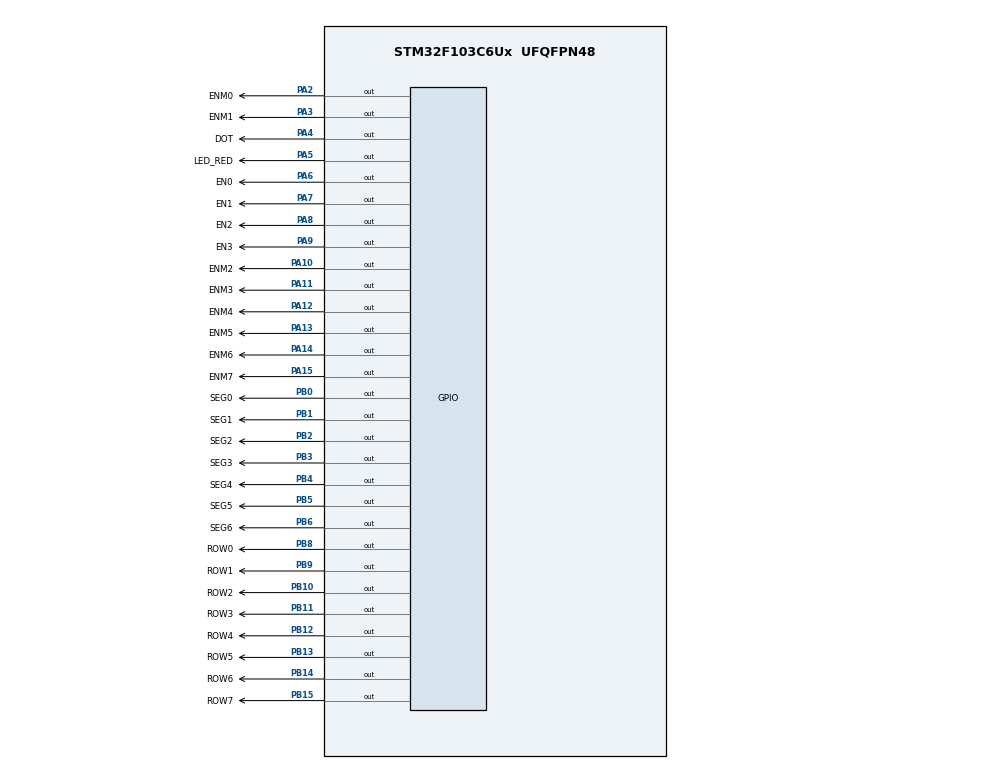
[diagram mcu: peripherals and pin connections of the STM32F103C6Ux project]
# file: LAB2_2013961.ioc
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Mcu.Family=STM32F1
Mcu.Name=STM32F103C6Ux
Mcu.Package=UFQFPN48
NVIC.PriorityGroup=NVIC_PRIORITYGROUP_4
NVIC.TIM2_IRQn=true\:0\:0\:false\:false\:true\:true\:true
PA10.GPIO_Label=ENM2
PA10.Signal=GPIO_Output
PA11.GPIO_Label=ENM3
PA11.Signal=GPIO_Output
PA12.GPIO_Label=ENM4
PA12.Signal=GPIO_Output
PA13.GPIO_Label=ENM5
PA13.Signal=GPIO_Output
PA14.GPIO_Label=ENM6
PA14.Signal=GPIO_Output
PA15.GPIO_Label=ENM7
PA15.Signal=GPIO_Output
PA2.GPIO_Label=ENM0
PA2.Signal=GPIO_Output
PA3.GPIO_Label=ENM1
PA3.Signal=GPIO_Output
PA4.GPIO_Label=DOT
PA4.Signal=GPIO_Output
PA5.GPIO_Label=LED_RED
PA5.Signal=GPIO_Output
PA6.GPIO_Label=EN0
PA6.Signal=GPIO_Output
PA7.GPIO_Label=EN1
PA7.Signal=GPIO_Output
PA8.GPIO_Label=EN2
PA8.Signal=GPIO_Output
PA9.GPIO_Label=EN3
PA9.Signal=GPIO_Output
PB0.GPIO_Label=SEG0
PB0.Signal=GPIO_Output
PB1.GPIO_Label=SEG1
PB1.Signal=GPIO_Output
PB10.GPIO_Label=ROW2
PB10.Signal=GPIO_Output
PB11.GPIO_Label=ROW3
PB11.Signal=GPIO_Output
PB12.GPIO_Label=ROW4
PB12.Signal=GPIO_Output
PB13.GPIO_Label=ROW5
PB13.Signal=GPIO_Output
PB14.GPIO_Label=ROW6
PB14.Signal=GPIO_Output
PB15.GPIO_Label=ROW7
PB15.Signal=GPIO_Output
PB2.GPIO_Label=SEG2
PB2.Signal=GPIO_Output
PB3.GPIO_Label=SEG3
PB3.Signal=GPIO_Output
PB4.GPIO_Label=SEG4
PB4.Signal=GPIO_Output
PB5.GPIO_Label=SEG5
PB5.Signal=GPIO_Output
PB6.GPIO_Label=SEG6
PB6.Signal=GPIO_Output
PB8.GPIO_Label=ROW0
PB8.Signal=GPIO_Output
PB9.GPIO_Label=ROW1
PB9.Signal=GPIO_Output
ProjectManager.HeapSize=0x200
ProjectManager.StackSize=0x400
ProjectManager.TargetToolchain=STM32CubeIDE
RCC.APB1Freq_Value=8000000
RCC.APB2Freq_Value=8000000
TIM2.Period=9
TIM2.Prescaler=7999
VP_SYS_VS_ND.Mode=No_Debug
VP_TIM2_VS_ClockSourceINT.Mode=Internal
board=custom

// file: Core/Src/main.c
/* USER CODE BEGIN Header */
/**
  ******************************************************************************
  * @file           : main.c
  * @brief          : Main program body
  ******************************************************************************
  * @attention
  *
  * <h2><center>&copy; Copyright (c) 2022 STMicroelectronics.
  * All rights reserved.</center></h2>
  *
  * This software component is licensed by ST under BSD 3-Clause license,
  * the "License"; You may not use this file except in compliance with the
  * License. You may obtain a copy of the License at:
  *                        opensource.org/licenses/BSD-3-Clause
  *
  ******************************************************************************
  */
/* USER CODE END Header */
#include "main.h"

/* USER CODE BEGIN Includes */
#include "software_timer.h"
/* USER CODE END Includes */

TIM_HandleTypeDef htim2;

void SystemClock_Config(void);
static void MX_GPIO_Init(void);
static void MX_TIM2_Init(void);

/* USER CODE BEGIN 0 */

int TIMER_CYCLE =10;
void display7SEG(int num);

const int MAX_LED = 4;
int index_led = 0;
int led_buffer [4] = {0, 0, 0, 0};
void update7SEG ( int index );
void updateClockBuffer(int hour, int minute);

const int MAX_LED_MATRIX = 8;
int index_led_matrix = 0;
uint8_t matrix_buffer [8] = {0xFF,0xC0,0x80,0x33,0x33,0x80,0xC0,0xFF};
void updateLEDMatrix (int index );
void updateRow(uint8_t buffer);
void updateCol(int index );
void shift_left_buffer();
/* USER CODE END 0 */

int main(void)
{

  /* MCU Configuration--------------------------------------------------------*/

  /* Reset of all peripherals, Initializes the Flash interface and the Systick. */
  HAL_Init();

  /* Configure the system clock */
  SystemClock_Config();

  /* Initialize all configured peripherals */
  MX_GPIO_Init();
  MX_TIM2_Init();
  /* USER CODE BEGIN 2 */
	 HAL_TIM_Base_Start_IT (& htim2 );
  /* USER CODE END 2 */

  /* Infinite loop */
  /* USER CODE BEGIN WHILE */

//thoi gian hien thị cua 1 den led 7 doan
int switching_time = 100;
setTimer_led_7_seg(switching_time);
//thoi gian sang cua 2 den led
int time_blinking_2_led_red = 1000;
setTimer_2_LED_RED(time_blinking_2_led_red);

// thoi gian khoi tao gio : phut : giay cua he thong
int hour = 7, minute = 30, second = 1;
setTimer_clock(1000);

//set timer cua matrix led
int time_switch_colum = 100;
setTimer_matrix_led(100);

//set timer cua bo dich buffer cua matri lex
int time_animation = 2000;
setTimer_shift_left_buffer(2000);
  while (1)
  {
  //hien thuc 2 LED do nhap nhay moi 1 giay
	  if(timer_2_LED_RED_flag == 1){
		  setTimer_2_LED_RED(time_blinking_2_led_red);
		  HAL_GPIO_TogglePin(DOT_GPIO_Port, DOT_Pin);
	  }

	  //hien thuc 4 led7 doan lan luot sang
	  if(timer_led_7_seg_flag == 1){
		  setTimer_led_7_seg(switching_time);
			if(index_led >= MAX_LED) index_led = 0;
				update7SEG(index_led++);
	  }

	  if(timer_clock_flag == 1){
		  setTimer_clock(1000);
		  second ++;
		  if ( second >= 60) {
			  second = 0;
			  minute ++;
		  }
		  if( minute >= 60) {
			  minute = 0;
			  hour ++;
		  }
		  if( hour >=24){
			  hour = 0;
		  }
		  updateClockBuffer (hour, minute);

	  }

	  if(timer_matrix_led_flag == 1){
		  setTimer_matrix_led(time_switch_colum);
		  if(index_led_matrix >= 8) index_led_matrix = 0;
		  updateLEDMatrix(index_led_matrix++);

	  }

	  if(timer_shift_left_buffer_flag ==1){
		  setTimer_shift_left_buffer(time_animation);
		  shift_left_buffer();

	  }
    /* USER CODE END WHILE */

  }
}

void SystemClock_Config(void)
{
  RCC_OscInitTypeDef RCC_OscInitStruct = {0};
  RCC_ClkInitTypeDef RCC_ClkInitStruct = {0};

  /** Initializes the RCC Oscillators according to the specified parameters
  * in the RCC_OscInitTypeDef structure.
  */
  RCC_OscInitStruct.OscillatorType = RCC_OSCILLATORTYPE_HSI;
  RCC_OscInitStruct.HSIState = RCC_HSI_ON;
  RCC_OscInitStruct.HSICalibrationValue = RCC_HSICALIBRATION_DEFAULT;
  RCC_OscInitStruct.PLL.PLLState = RCC_PLL_NONE;
  if (HAL_RCC_OscConfig(&RCC_OscInitStruct) != HAL_OK)
  {
    Error_Handler();
  }
  /** Initializes the CPU, AHB and APB buses clocks
  */
  RCC_ClkInitStruct.ClockType = RCC_CLOCKTYPE_HCLK|RCC_CLOCKTYPE_SYSCLK
                              |RCC_CLOCKTYPE_PCLK1|RCC_CLOCKTYPE_PCLK2;
  RCC_ClkInitStruct.SYSCLKSource = RCC_SYSCLKSOURCE_HSI;
  RCC_ClkInitStruct.AHBCLKDivider = RCC_SYSCLK_DIV1;
  RCC_ClkInitStruct.APB1CLKDivider = RCC_HCLK_DIV1;
  RCC_ClkInitStruct.APB2CLKDivider = RCC_HCLK_DIV1;

  if (HAL_RCC_ClockConfig(&RCC_ClkInitStruct, FLASH_LATENCY_0) != HAL_OK)
  {
    Error_Handler();
  }
}

static void MX_TIM2_Init(void)
{

  TIM_ClockConfigTypeDef sClockSourceConfig = {0};
  TIM_MasterConfigTypeDef sMasterConfig = {0};

  htim2.Instance = TIM2;
  htim2.Init.Prescaler = 7999;
  htim2.Init.CounterMode = TIM_COUNTERMODE_UP;
  htim2.Init.Period = 9;
  htim2.Init.ClockDivision = TIM_CLOCKDIVISION_DIV1;
  htim2.Init.AutoReloadPreload = TIM_AUTORELOAD_PRELOAD_DISABLE;
  if (HAL_TIM_Base_Init(&htim2) != HAL_OK)
  {
    Error_Handler();
  }
  sClockSourceConfig.ClockSource = TIM_CLOCKSOURCE_INTERNAL;
  if (HAL_TIM_ConfigClockSource(&htim2, &sClockSourceConfig) != HAL_OK)
  {
    Error_Handler();
  }
  sMasterConfig.MasterOutputTrigger = TIM_TRGO_RESET;
  sMasterConfig.MasterSlaveMode = TIM_MASTERSLAVEMODE_DISABLE;
  if (HAL_TIMEx_MasterConfigSynchronization(&htim2, &sMasterConfig) != HAL_OK)
  {
    Error_Handler();
  }

}

static void MX_GPIO_Init(void)
{
  GPIO_InitTypeDef GPIO_InitStruct = {0};

  /* GPIO Ports Clock Enable */
  __HAL_RCC_GPIOA_CLK_ENABLE();
  __HAL_RCC_GPIOB_CLK_ENABLE();

  /*Configure GPIO pin Output Level */
  HAL_GPIO_WritePin(GPIOA, ENM0_Pin|ENM1_Pin|DOT_Pin|LED_RED_Pin
                          |EN0_Pin|EN1_Pin|EN2_Pin|EN3_Pin
                          |ENM2_Pin|ENM3_Pin|ENM4_Pin|ENM5_Pin
                          |ENM6_Pin|ENM7_Pin, GPIO_PIN_RESET);

  /*Configure GPIO pin Output Level */
  HAL_GPIO_WritePin(GPIOB, SEG0_Pin|SEG1_Pin|SEG2_Pin|ROW2_Pin
                          |ROW3_Pin|ROW4_Pin|ROW5_Pin|ROW6_Pin
                          |ROW7_Pin|SEG3_Pin|SEG4_Pin|SEG5_Pin
                          |SEG6_Pin|ROW0_Pin|ROW1_Pin, GPIO_PIN_RESET);

  /*Configure GPIO pins : ENM0_Pin ENM1_Pin DOT_Pin LED_RED_Pin
                           EN0_Pin EN1_Pin EN2_Pin EN3_Pin
                           ENM2_Pin ENM3_Pin ENM4_Pin ENM5_Pin
                           ENM6_Pin ENM7_Pin */
  GPIO_InitStruct.Pin = ENM0_Pin|ENM1_Pin|DOT_Pin|LED_RED_Pin
                          |EN0_Pin|EN1_Pin|EN2_Pin|EN3_Pin
                          |ENM2_Pin|ENM3_Pin|ENM4_Pin|ENM5_Pin
                          |ENM6_Pin|ENM7_Pin;
  GPIO_InitStruct.Mode = GPIO_MODE_OUTPUT_PP;
  GPIO_InitStruct.Pull = GPIO_NOPULL;
  GPIO_InitStruct.Speed = GPIO_SPEED_FREQ_LOW;
  HAL_GPIO_Init(GPIOA, &GPIO_InitStruct);

  /*Configure GPIO pins : SEG0_Pin SEG1_Pin SEG2_Pin ROW2_Pin
                           ROW3_Pin ROW4_Pin ROW5_Pin ROW6_Pin
                           ROW7_Pin SEG3_Pin SEG4_Pin SEG5_Pin
                           SEG6_Pin ROW0_Pin ROW1_Pin */
  GPIO_InitStruct.Pin = SEG0_Pin|SEG1_Pin|SEG2_Pin|ROW2_Pin
                          |ROW3_Pin|ROW4_Pin|ROW5_Pin|ROW6_Pin
                          |ROW7_Pin|SEG3_Pin|SEG4_Pin|SEG5_Pin
                          |SEG6_Pin|ROW0_Pin|ROW1_Pin;
  GPIO_InitStruct.Mode = GPIO_MODE_OUTPUT_PP;
  GPIO_InitStruct.Pull = GPIO_NOPULL;
  GPIO_InitStruct.Speed = GPIO_SPEED_FREQ_LOW;
  HAL_GPIO_Init(GPIOB, &GPIO_InitStruct);

}

/* USER CODE BEGIN 4 */
void display7SEG(int num){
  	switch(num){
  	case 0:
  		HAL_GPIO_WritePin(SEG0_GPIO_Port,SEG0_Pin, GPIO_PIN_RESET);
  		HAL_GPIO_WritePin(SEG1_GPIO_Port,SEG1_Pin, GPIO_PIN_RESET);
  		HAL_GPIO_WritePin(SEG2_GPIO_Port,SEG2_Pin, GPIO_PIN_RESET);
  		HAL_GPIO_WritePin(SEG3_GPIO_Port,SEG3_Pin, GPIO_PIN_RESET);
  		HAL_GPIO_WritePin(SEG4_GPIO_Port,SEG4_Pin, GPIO_PIN_RESET);
  		HAL_GPIO_WritePin(SEG5_GPIO_Port,SEG5_Pin, GPIO_PIN_RESET);
  		HAL_GPIO_WritePin(SEG6_GPIO_Port,SEG6_Pin, GPIO_PIN_SET);
  		break;
  	case 1:
  		HAL_GPIO_WritePin(SEG0_GPIO_Port,SEG0_Pin, GPIO_PIN_SET);
  		HAL_GPIO_WritePin(SEG1_GPIO_Port,SEG1_Pin, GPIO_PIN_RESET);
  		HAL_GPIO_WritePin(SEG2_GPIO_Port,SEG2_Pin, GPIO_PIN_RESET);
  		HAL_GPIO_WritePin(SEG3_GPIO_Port,SEG3_Pin, GPIO_PIN_SET);
  		HAL_GPIO_WritePin(SEG4_GPIO_Port,SEG4_Pin, GPIO_PIN_SET);
  		HAL_GPIO_WritePin(SEG5_GPIO_Port,SEG5_Pin, GPIO_PIN_SET);
  		HAL_GPIO_WritePin(SEG6_GPIO_Port,SEG6_Pin, GPIO_PIN_SET);
  		break;
  	case 2:
  		HAL_GPIO_WritePin(SEG0_GPIO_Port,SEG0_Pin, GPIO_PIN_RESET);
  		HAL_GPIO_WritePin(SEG1_GPIO_Port,SEG1_Pin, GPIO_PIN_RESET);
  		HAL_GPIO_WritePin(SEG2_GPIO_Port,SEG2_Pin, GPIO_PIN_SET);
  		HAL_GPIO_WritePin(SEG3_GPIO_Port,SEG3_Pin, GPIO_PIN_RESET);
  		HAL_GPIO_WritePin(SEG4_GPIO_Port,SEG4_Pin, GPIO_PIN_RESET);
  		HAL_GPIO_WritePin(SEG5_GPIO_Port,SEG5_Pin, GPIO_PIN_SET);
  		HAL_GPIO_WritePin(SEG6_GPIO_Port,SEG6_Pin, GPIO_PIN_RESET);
  		break;
  	case 3:
  		HAL_GPIO_WritePin(SEG0_GPIO_Port,SEG0_Pin, GPIO_PIN_RESET);
  		HAL_GPIO_WritePin(SEG1_GPIO_Port,SEG1_Pin, GPIO_PIN_RESET);
  		HAL_GPIO_WritePin(SEG2_GPIO_Port,SEG2_Pin, GPIO_PIN_RESET);
  		HAL_GPIO_WritePin(SEG3_GPIO_Port,SEG3_Pin, GPIO_PIN_RESET);
  		HAL_GPIO_WritePin(SEG4_GPIO_Port,SEG4_Pin, GPIO_PIN_SET);
  		HAL_GPIO_WritePin(SEG5_GPIO_Port,SEG5_Pin, GPIO_PIN_SET);
  		HAL_GPIO_WritePin(SEG6_GPIO_Port,SEG6_Pin, GPIO_PIN_RESET);
  		break;
  	case 4:
  		HAL_GPIO_WritePin(SEG0_GPIO_Port,SEG0_Pin, GPIO_PIN_SET);
  		HAL_GPIO_WritePin(SEG1_GPIO_Port,SEG1_Pin, GPIO_PIN_RESET);
  		HAL_GPIO_WritePin(SEG2_GPIO_Port,SEG2_Pin, GPIO_PIN_RESET);
  		HAL_GPIO_WritePin(SEG3_GPIO_Port,SEG3_Pin, GPIO_PIN_SET);
  		HAL_GPIO_WritePin(SEG4_GPIO_Port,SEG4_Pin, GPIO_PIN_SET);
  		HAL_GPIO_WritePin(SEG5_GPIO_Port,SEG5_Pin, GPIO_PIN_RESET);
  		HAL_GPIO_WritePin(SEG6_GPIO_Port,SEG6_Pin, GPIO_PIN_RESET);
  		break;
  	case 5:
  		HAL_GPIO_WritePin(SEG0_GPIO_Port,SEG0_Pin, GPIO_PIN_RESET);
  		HAL_GPIO_WritePin(SEG1_GPIO_Port,SEG1_Pin, GPIO_PIN_SET);
  		HAL_GPIO_WritePin(SEG2_GPIO_Port,SEG2_Pin, GPIO_PIN_RESET);
  		HAL_GPIO_WritePin(SEG3_GPIO_Port,SEG3_Pin, GPIO_PIN_RESET);
  		HAL_GPIO_WritePin(SEG4_GPIO_Port,SEG4_Pin, GPIO_PIN_SET);
  		HAL_GPIO_WritePin(SEG5_GPIO_Port,SEG5_Pin, GPIO_PIN_RESET);
  		HAL_GPIO_WritePin(SEG6_GPIO_Port,SEG6_Pin, GPIO_PIN_RESET);
  		break;
  	case 6:
  		HAL_GPIO_WritePin(SEG0_GPIO_Port,SEG0_Pin, GPIO_PIN_RESET);
  		HAL_GPIO_WritePin(SEG1_GPIO_Port,SEG1_Pin, GPIO_PIN_SET);
  		HAL_GPIO_WritePin(SEG2_GPIO_Port,SEG2_Pin, GPIO_PIN_RESET);
  		HAL_GPIO_WritePin(SEG3_GPIO_Port,SEG3_Pin, GPIO_PIN_RESET);
  		HAL_GPIO_WritePin(SEG4_GPIO_Port,SEG4_Pin, GPIO_PIN_RESET);
  		HAL_GPIO_WritePin(SEG5_GPIO_Port,SEG5_Pin, GPIO_PIN_RESET);
  		HAL_GPIO_WritePin(SEG6_GPIO_Port,SEG6_Pin, GPIO_PIN_RESET);
  		break;
  	case 7:
  		HAL_GPIO_WritePin(SEG0_GPIO_Port,SEG0_Pin, GPIO_PIN_RESET);
  		HAL_GPIO_WritePin(SEG1_GPIO_Port,SEG1_Pin, GPIO_PIN_RESET);
  		HAL_GPIO_WritePin(SEG2_GPIO_Port,SEG2_Pin, GPIO_PIN_RESET);
  		HAL_GPIO_WritePin(SEG3_GPIO_Port,SEG3_Pin, GPIO_PIN_SET);
  		HAL_GPIO_WritePin(SEG4_GPIO_Port,SEG4_Pin, GPIO_PIN_SET);
  		HAL_GPIO_WritePin(SEG5_GPIO_Port,SEG5_Pin, GPIO_PIN_SET);
  		HAL_GPIO_WritePin(SEG6_GPIO_Port,SEG6_Pin, GPIO_PIN_SET);
  		break;
  	case 8:
  		HAL_GPIO_WritePin(SEG0_GPIO_Port,SEG0_Pin, GPIO_PIN_RESET);
  		HAL_GPIO_WritePin(SEG1_GPIO_Port,SEG1_Pin, GPIO_PIN_RESET);
  		HAL_GPIO_WritePin(SEG2_GPIO_Port,SEG2_Pin, GPIO_PIN_RESET);
  		HAL_GPIO_WritePin(SEG3_GPIO_Port,SEG3_Pin, GPIO_PIN_RESET);
  		HAL_GPIO_WritePin(SEG4_GPIO_Port,SEG4_Pin, GPIO_PIN_RESET);
  		HAL_GPIO_WritePin(SEG5_GPIO_Port,SEG5_Pin, GPIO_PIN_RESET);
  		HAL_GPIO_WritePin(SEG6_GPIO_Port,SEG6_Pin, GPIO_PIN_RESET);
  		break;
  	case 9:
  		HAL_GPIO_WritePin(SEG0_GPIO_Port,SEG0_Pin, GPIO_PIN_RESET);
  		HAL_GPIO_WritePin(SEG1_GPIO_Port,SEG1_Pin, GPIO_PIN_RESET);
  		HAL_GPIO_WritePin(SEG2_GPIO_Port,SEG2_Pin, GPIO_PIN_RESET);
  		HAL_GPIO_WritePin(SEG3_GPIO_Port,SEG3_Pin, GPIO_PIN_RESET);
  		HAL_GPIO_WritePin(SEG4_GPIO_Port,SEG4_Pin, GPIO_PIN_SET);
  		HAL_GPIO_WritePin(SEG5_GPIO_Port,SEG5_Pin, GPIO_PIN_RESET);
  		HAL_GPIO_WritePin(SEG6_GPIO_Port,SEG6_Pin, GPIO_PIN_RESET);
  		break;

  	}
  }

void update7SEG ( int index ){
	switch ( index ){
	case 0:
		// Display the first 7 SEG with led_buffer [0]
		// chung ta chi cho phep duy nhat 1 cong ENi o trang thai enable, cac cong con lai se o trang thai disable
		//trong truong hop nay chi co cong EN0 la enable
		HAL_GPIO_WritePin(EN0_GPIO_Port,EN0_Pin,RESET);
		HAL_GPIO_WritePin(EN1_GPIO_Port,EN1_Pin,SET);
		HAL_GPIO_WritePin(EN2_GPIO_Port,EN2_Pin,SET);
		HAL_GPIO_WritePin(EN3_GPIO_Port,EN3_Pin,SET);
		display7SEG(led_buffer[0]);
		break ;
	case 1:
		// Display the second 7 SEG with led_buffer [1]
		//trong truong hop nay chi co cong EN1 la enable
		HAL_GPIO_WritePin(EN0_GPIO_Port,EN0_Pin,SET);
		HAL_GPIO_WritePin(EN1_GPIO_Port,EN1_Pin,RESET);
		HAL_GPIO_WritePin(EN2_GPIO_Port,EN2_Pin,SET);
		HAL_GPIO_WritePin(EN3_GPIO_Port,EN3_Pin,SET);
		display7SEG(led_buffer[1]);
		break ;
	case 2:
		// Display the third 7 SEG with led_buffer [2]
		//trong truong hop nay chi co cong EN2 la enable
		HAL_GPIO_WritePin(EN0_GPIO_Port,EN0_Pin,SET);
		HAL_GPIO_WritePin(EN1_GPIO_Port,EN1_Pin,SET);
		HAL_GPIO_WritePin(EN2_GPIO_Port,EN2_Pin,RESET);
		HAL_GPIO_WritePin(EN3_GPIO_Port,EN3_Pin,SET);
		display7SEG(led_buffer[2]);
		break ;
	case 3:
		// Display the forth 7 SEG with led_buffer [3]
		//trong truong hop nay chi co cong EN0 la enable
		HAL_GPIO_WritePin(EN0_GPIO_Port,EN0_Pin,SET);
		HAL_GPIO_WritePin(EN1_GPIO_Port,EN1_Pin,SET);
		HAL_GPIO_WritePin(EN2_GPIO_Port,EN2_Pin,SET);
		HAL_GPIO_WritePin(EN3_GPIO_Port,EN3_Pin,RESET);
		display7SEG(led_buffer[3]);
		break ;
	default :
		break ;
	}
}

void updateClockBuffer(int hour, int minute){
	// neu hour < 10 thi ta se them so 0 o truoc
	// vi du hour = 9 thi buffer[0] = 0, buffer[1] = 9;
	if(hour < 10){
		led_buffer[0] = 0;
		led_buffer[1] = hour;
	}
	// neu hour >10 thi ta lay so hang chuc luu vao buffer[0] va hang don vi luu vao buffer[1]
	// vi du hour = 10 thi buffer[0] = 1, buffer[1] = 0;
	if( hour >= 10 && hour < 24){
		led_buffer[0] = hour/10;
		led_buffer[1] = hour%10;
	}

	//tuong tu voi update minute
	if(minute < 10){
			led_buffer[2] = 0;
			led_buffer[3] = minute;
		}
	if( minute >= 10 && minute < 60){
			led_buffer[2] = minute/10;
			led_buffer[3] = minute%10;
	}

}

void updateLEDMatrix (int index ){
	updateCol(index);
	updateRow(matrix_buffer[index]);
}

// updateCol se tao tin hieu ENMi = 0 voi index đuoc truyen vao
//vi du updateCol(0) se lam cho duy nhat tin hieu ENM0 = RESET
void updateCol(int index ){
	switch(index){
	case 0:
		HAL_GPIO_WritePin(ENM0_GPIO_Port,ENM0_Pin,RESET);
		HAL_GPIO_WritePin(ENM1_GPIO_Port,ENM1_Pin,SET);
		HAL_GPIO_WritePin(ENM2_GPIO_Port,ENM2_Pin,SET);
		HAL_GPIO_WritePin(ENM3_GPIO_Port,ENM3_Pin,SET);
		HAL_GPIO_WritePin(ENM4_GPIO_Port,ENM4_Pin,SET);
		HAL_GPIO_WritePin(ENM5_GPIO_Port,ENM5_Pin,SET);
		HAL_GPIO_WritePin(ENM6_GPIO_Port,ENM6_Pin,SET);
		HAL_GPIO_WritePin(ENM7_GPIO_Port,ENM7_Pin,SET);

		break;
	case 1:
		HAL_GPIO_WritePin(ENM0_GPIO_Port,ENM0_Pin,SET);
		HAL_GPIO_WritePin(ENM1_GPIO_Port,ENM1_Pin,RESET);
		HAL_GPIO_WritePin(ENM2_GPIO_Port,ENM2_Pin,SET);
		HAL_GPIO_WritePin(ENM3_GPIO_Port,ENM3_Pin,SET);
		HAL_GPIO_WritePin(ENM4_GPIO_Port,ENM4_Pin,SET);
		HAL_GPIO_WritePin(ENM5_GPIO_Port,ENM5_Pin,SET);
		HAL_GPIO_WritePin(ENM6_GPIO_Port,ENM6_Pin,SET);
		HAL_GPIO_WritePin(ENM7_GPIO_Port,ENM7_Pin,SET);
		break;
	case 2:
		HAL_GPIO_WritePin(ENM0_GPIO_Port,ENM0_Pin,SET);
		HAL_GPIO_WritePin(ENM1_GPIO_Port,ENM1_Pin,SET);
		HAL_GPIO_WritePin(ENM2_GPIO_Port,ENM2_Pin,RESET);
		HAL_GPIO_WritePin(ENM3_GPIO_Port,ENM3_Pin,SET);
		HAL_GPIO_WritePin(ENM4_GPIO_Port,ENM4_Pin,SET);
		HAL_GPIO_WritePin(ENM5_GPIO_Port,ENM5_Pin,SET);
		HAL_GPIO_WritePin(ENM6_GPIO_Port,ENM6_Pin,SET);
		HAL_GPIO_WritePin(ENM7_GPIO_Port,ENM7_Pin,SET);
		break;
	case 3:
		HAL_GPIO_WritePin(ENM0_GPIO_Port,ENM0_Pin,SET);
		HAL_GPIO_WritePin(ENM1_GPIO_Port,ENM1_Pin,SET);
		HAL_GPIO_WritePin(ENM2_GPIO_Port,ENM2_Pin,SET);
		HAL_GPIO_WritePin(ENM3_GPIO_Port,ENM3_Pin,RESET);
		HAL_GPIO_WritePin(ENM4_GPIO_Port,ENM4_Pin,SET);
		HAL_GPIO_WritePin(ENM5_GPIO_Port,ENM5_Pin,SET);
		HAL_GPIO_WritePin(ENM6_GPIO_Port,ENM6_Pin,SET);
		HAL_GPIO_WritePin(ENM7_GPIO_Port,ENM7_Pin,SET);
		break;
	case 4:
		HAL_GPIO_WritePin(ENM0_GPIO_Port,ENM0_Pin,SET);
		HAL_GPIO_WritePin(ENM1_GPIO_Port,ENM1_Pin,SET);
		HAL_GPIO_WritePin(ENM2_GPIO_Port,ENM2_Pin,SET);
		HAL_GPIO_WritePin(ENM3_GPIO_Port,ENM3_Pin,SET);
		HAL_GPIO_WritePin(ENM4_GPIO_Port,ENM4_Pin,RESET);
		HAL_GPIO_WritePin(ENM5_GPIO_Port,ENM5_Pin,SET);
		HAL_GPIO_WritePin(ENM6_GPIO_Port,ENM6_Pin,SET);
		HAL_GPIO_WritePin(ENM7_GPIO_Port,ENM7_Pin,SET);
		break;
	case 5:
		HAL_GPIO_WritePin(ENM0_GPIO_Port,ENM0_Pin,SET);
		HAL_GPIO_WritePin(ENM1_GPIO_Port,ENM1_Pin,SET);
		HAL_GPIO_WritePin(ENM2_GPIO_Port,ENM2_Pin,SET);
		HAL_GPIO_WritePin(ENM3_GPIO_Port,ENM3_Pin,SET);
		HAL_GPIO_WritePin(ENM4_GPIO_Port,ENM4_Pin,SET);
		HAL_GPIO_WritePin(ENM5_GPIO_Port,ENM5_Pin,RESET);
		HAL_GPIO_WritePin(ENM6_GPIO_Port,ENM6_Pin,SET);
		HAL_GPIO_WritePin(ENM7_GPIO_Port,ENM7_Pin,SET);
		break;
	case 6:
		HAL_GPIO_WritePin(ENM0_GPIO_Port,ENM0_Pin,SET);
		HAL_GPIO_WritePin(ENM1_GPIO_Port,ENM1_Pin,SET);
		HAL_GPIO_WritePin(ENM2_GPIO_Port,ENM2_Pin,SET);
		HAL_GPIO_WritePin(ENM3_GPIO_Port,ENM3_Pin,SET);
		HAL_GPIO_WritePin(ENM4_GPIO_Port,ENM4_Pin,SET);
		HAL_GPIO_WritePin(ENM5_GPIO_Port,ENM5_Pin,SET);
		HAL_GPIO_WritePin(ENM6_GPIO_Port,ENM6_Pin,RESET);
		HAL_GPIO_WritePin(ENM7_GPIO_Port,ENM7_Pin,SET);
		break;
	case 7:
		HAL_GPIO_WritePin(ENM0_GPIO_Port,ENM0_Pin,SET);
		HAL_GPIO_WritePin(ENM1_GPIO_Port,ENM1_Pin,SET);
		HAL_GPIO_WritePin(ENM2_GPIO_Port,ENM2_Pin,SET);
		HAL_GPIO_WritePin(ENM3_GPIO_Port,ENM3_Pin,SET);
		HAL_GPIO_WritePin(ENM4_GPIO_Port,ENM4_Pin,SET);
		HAL_GPIO_WritePin(ENM5_GPIO_Port,ENM5_Pin,SET);
		HAL_GPIO_WritePin(ENM6_GPIO_Port,ENM6_Pin,SET);
		HAL_GPIO_WritePin(ENM7_GPIO_Port,ENM7_Pin,RESET);
		break;
	default:
		break;
	}

}
// ham updateRow se nhan gia tri cua buffer 8 bit voi index tuong ung trong matrix buffer va se tach tung bit cua buffer de cho ra cac output tuong ung
void updateRow(uint8_t buffer){
	// o day buffer co dang chuoi 8 bit [0:7]
	//de co the lay duoc tung bit cua buffer ta se dung cac phep and voi cac so phu hop
	// vi du de lay duoc bit thu 6 cua buffer 0010_00_1_1 thi ta and buffer cho  0x02
	// 0010_00_1_1 & 0000_00_1_0 = 0000_00_1_0
	// sau do ta dich phai de dua ket qua vua thu duoc thanh 0000_000X tuong duong với X = 0 or 1 se la tin hieu cua ROW
	uint8_t pin[8] = {0, 0, 0, 0, 0, 0, 0, 0};
	pin[7] = (buffer & 0x01 );
	pin[6] = (buffer & 0x02 ) >> 1;
	pin[5] = (buffer & 0x04 ) >> 2;
	pin[4] = (buffer & 0x08 ) >> 3;
	pin[3] = (buffer & 0x10 ) >> 4;
	pin[2] = (buffer & 0x20 ) >> 5;
	pin[1] = (buffer & 0x40 ) >> 6;
	pin[0] = (buffer & 0x80 ) >> 7;
	//Dieu chinh tin hieu cua Row
	HAL_GPIO_WritePin(ROW0_GPIO_Port, ROW0_Pin, pin[0]);
	HAL_GPIO_WritePin(ROW1_GPIO_Port, ROW1_Pin, pin[1]);
	HAL_GPIO_WritePin(ROW2_GPIO_Port, ROW2_Pin, pin[2]);
	HAL_GPIO_WritePin(ROW3_GPIO_Port, ROW3_Pin, pin[3]);
	HAL_GPIO_WritePin(ROW4_GPIO_Port, ROW4_Pin, pin[4]);
	HAL_GPIO_WritePin(ROW6_GPIO_Port, ROW5_Pin, pin[5]);
	HAL_GPIO_WritePin(ROW6_GPIO_Port, ROW6_Pin, pin[6]);
	HAL_GPIO_WritePin(ROW7_GPIO_Port, ROW7_Pin, pin[7]);
}

void shift_left_buffer(){
	uint8_t temp = matrix_buffer[0];
	matrix_buffer[0] = matrix_buffer[1];
	matrix_buffer[1] = matrix_buffer[2];
	matrix_buffer[2] = matrix_buffer[3];
	matrix_buffer[3] = matrix_buffer[4];
	matrix_buffer[4] = matrix_buffer[5];
	matrix_buffer[5] = matrix_buffer[6];
	matrix_buffer[6] = matrix_buffer[7];
	matrix_buffer[7] = temp;
}

void HAL_TIM_PeriodElapsedCallback(TIM_HandleTypeDef *htim){
	HAL_GPIO_TogglePin ( LED_RED_GPIO_Port , LED_RED_Pin );
	timer_run();
}
/* USER CODE END 4 */

void Error_Handler(void)
{
  __disable_irq();
  while (1)
  {
  }
}

/************************ (C) COPYRIGHT STMicroelectronics *****END OF FILE****/
